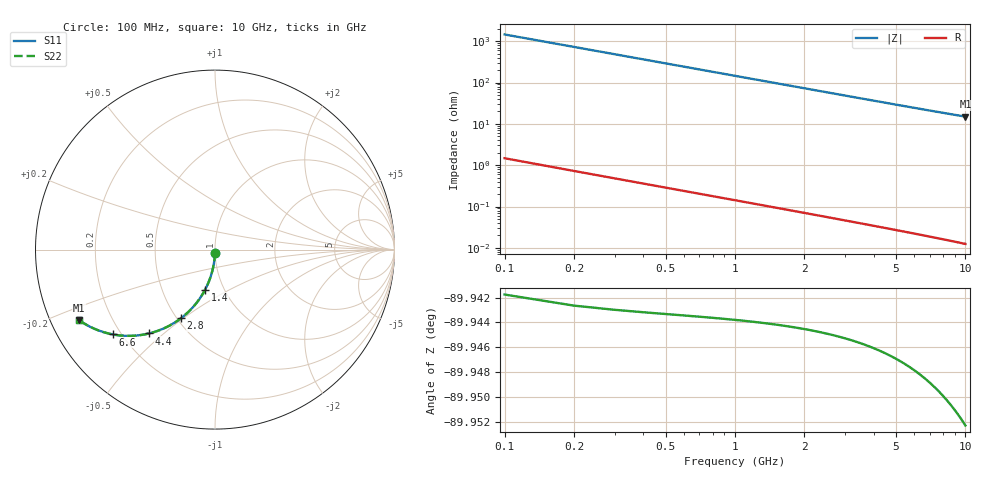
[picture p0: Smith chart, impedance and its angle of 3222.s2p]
# Hz S RI R 50.00
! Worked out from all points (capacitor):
!   100 points, 100 MHz to 10 GHz, reference 50 ohm
!   read as one part in shunt: C = 1.1 pF near 100 MHz
!   lowest |Z| = 15 ohm at 10 GHz (marker M1)
!   S11 on the Smith chart (normalised r, x): 100 MHz: 1.00, -0.03; 1.4 GHz: 0.81, -0.38; 2.8 GHz: 0.52, -0.49; 4.4 GHz: 0.31, -0.45; 6.6 GHz: 0.17, -0.35; 10 GHz: 0.08, -0.24
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1e8  -0.000229 -0.0169  0.9996 -0.0175  0.9996 -0.0175  -0.000229 -0.0169
2e8  -0.00113 -0.0338  0.9987 -0.0351  0.9987 -0.0351  -0.00113 -0.0338
3e8  -0.00263 -0.0506  0.9972 -0.0525  0.9972 -0.0525  -0.00263 -0.0506
4e8  -0.0047 -0.0673  0.9951 -0.0699  0.9951 -0.0699  -0.0047 -0.0673
5e8  -0.00736 -0.0839  0.9925 -0.0871  0.9925 -0.0871  -0.00736 -0.0839
6e8  -0.0106 -0.1003  0.9892 -0.1042  0.9892 -0.1042  -0.0106 -0.1003
7e8  -0.0144 -0.1166  0.9855 -0.1211  0.9855 -0.1211  -0.0144 -0.1166
9e8  -0.0235 -0.1485  0.9763 -0.1543  0.9763 -0.1543  -0.0235 -0.1485
1.1e9  -0.0348 -0.1793  0.965 -0.1865  0.965 -0.1865  -0.0348 -0.1793
1.4e9  -0.0552 -0.2234  0.9446 -0.2326  0.9446 -0.2326  -0.0552 -0.2234
1.8e9  -0.0881 -0.2771  0.9117 -0.2889  0.9117 -0.2889  -0.0881 -0.2771
2.3e9  -0.1363 -0.3352  0.8634 -0.3503  0.8634 -0.3503  -0.1363 -0.3352
2.8e9  -0.1898 -0.3825  0.8099 -0.401  0.8099 -0.401  -0.1898 -0.3825
3.4e9  -0.2571 -0.4254  0.7425 -0.4479  0.7425 -0.4479  -0.2571 -0.4254
4.4e9  -0.3678 -0.4672  0.6315 -0.4964  0.6315 -0.4964  -0.3678 -0.4672
5.1e9  -0.4395 -0.4789  0.5597 -0.5128  0.5597 -0.5128  -0.4395 -0.4789
5.8e9  -0.5044 -0.4801  0.4946 -0.5188  0.4946 -0.5188  -0.5044 -0.4801
6.6e9  -0.5697 -0.4724  0.4292 -0.5166  0.4292 -0.5166  -0.5697 -0.4724
6.7e9  -0.5772 -0.4709  0.4216 -0.5159  0.4216 -0.5159  -0.5772 -0.4709
7.5e9  -0.6321 -0.4562  0.3664 -0.5068  0.3664 -0.5068  -0.6321 -0.4562
8.4e9  -0.6843 -0.4354  0.3139 -0.4924  0.3139 -0.4924  -0.6843 -0.4354
1e10  -0.7563 -0.3937  0.2411 -0.4623  0.2411 -0.4623  -0.7563 -0.3937
